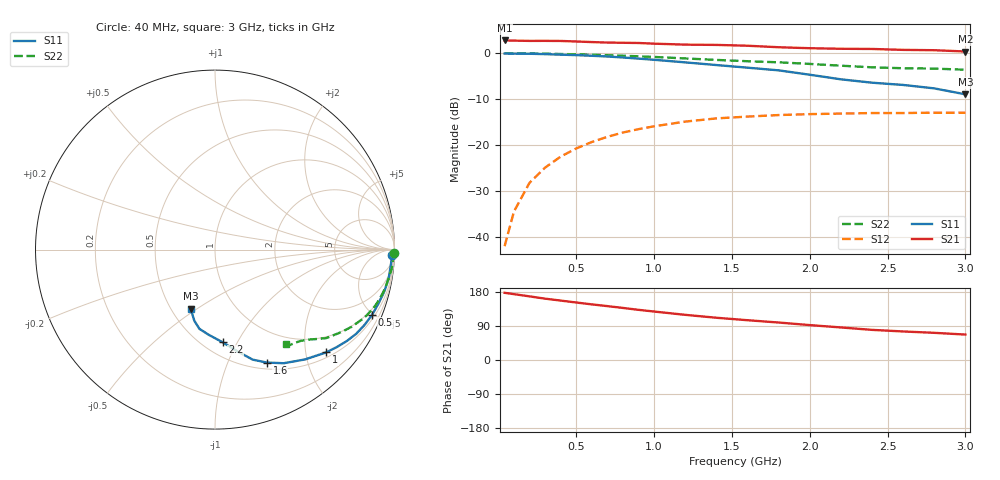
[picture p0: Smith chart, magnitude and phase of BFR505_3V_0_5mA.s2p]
! Filename:  BFR505A.S2P  Version:  3.0
! Philips part #: BFR505  Date: Feb 1992
! Bias condition: Vce=3V, Ic=0.50mA
#  MHz  S  MA  R  50
! Freq  S11  S21  S12  S22  !GUM [dB]
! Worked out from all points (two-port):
!   21 points, 40 MHz to 3 GHz, reference 50 ohm
!   highest |S21| = 2.72 dB at 40 MHz (marker M1); lowest = 0.3 dB at 3 GHz (marker M2)
!   |S21| within 3 dB of the highest: start of sweep to end of sweep
!   lowest |S11| = -9.0 dB at 3 GHz (marker M3), VSWR 2.11, Z = 31.2 - j23.5 ohm
!   |S11| at or under -10 dB: nowhere
!   |S22| runs from -3.6 to 0.0 dB; largest |S21 - S12| = 1.4
!   S11 on the Smith chart (normalised r, x): 40 MHz: 23, -54; 500 MHz: 0.69, -4.93; 1 GHz: 0.61, -2.43; 1.6 GHz: 0.58, -1.40; 2.2 GHz: 0.62, -0.87; 3 GHz: 0.62, -0.47
40  0.987 -1.8  1.368 177.3  0.008 87.7  0.995 -1.2
100  0.984 -4.5  1.362 173.8  0.019 86.4  0.994 -2.8
200  0.981 -9.1  1.353 167.9  0.039 82.7  0.991 -5.8
300  0.972 -13.8  1.354 161.9  0.057 79.5  0.983 -8.7
400  0.959 -18.3  1.351 156.8  0.075 76.8  0.975 -11.5
500  0.948 -22.5  1.333 151.7  0.092 74.2  0.967 -14.2
600  0.933 -26.7  1.314 146.8  0.108 71.5  0.957 -16.8
700  0.916 -30.8  1.298 142.2  0.123 68.9  0.946 -19.3
800  0.894 -34.7  1.291 137.4  0.137 66.5  0.933 -21.4
900  0.869 -38.7  1.284 132.4  0.149 64.0  0.921 -23.5
1000  0.844 -42.7  1.263 127.9  0.16 61.6  0.906 -25.5
1200  0.791 -50.7  1.232 119.2  0.18 57.0  0.873 -29.6
1400  0.74 -58.8  1.224 111.5  0.195 53.5  0.841 -33.1
1600  0.693 -65.3  1.199 105.0  0.204 50.3  0.814 -35.9
1800  0.648 -71.1  1.155 98.9  0.212 48.6  0.792 -38.5
2000  0.581 -77.5  1.127 92.1  0.217 46.1  0.761 -40.8
2200  0.518 -85.3  1.111 85.9  0.22 44.2  0.728 -43.5
2400  0.476 -94.2  1.106 79.5  0.223 43.0  0.699 -46.6
2600  0.45 -101.1  1.081 75.3  0.223 43.0  0.683 -49.6
2800  0.413 -106.2  1.072 71.7  0.225 44.3  0.677 -51.6
3000  0.356 -112.4  1.038 67.1  0.225 45.3  0.658 -53.1
